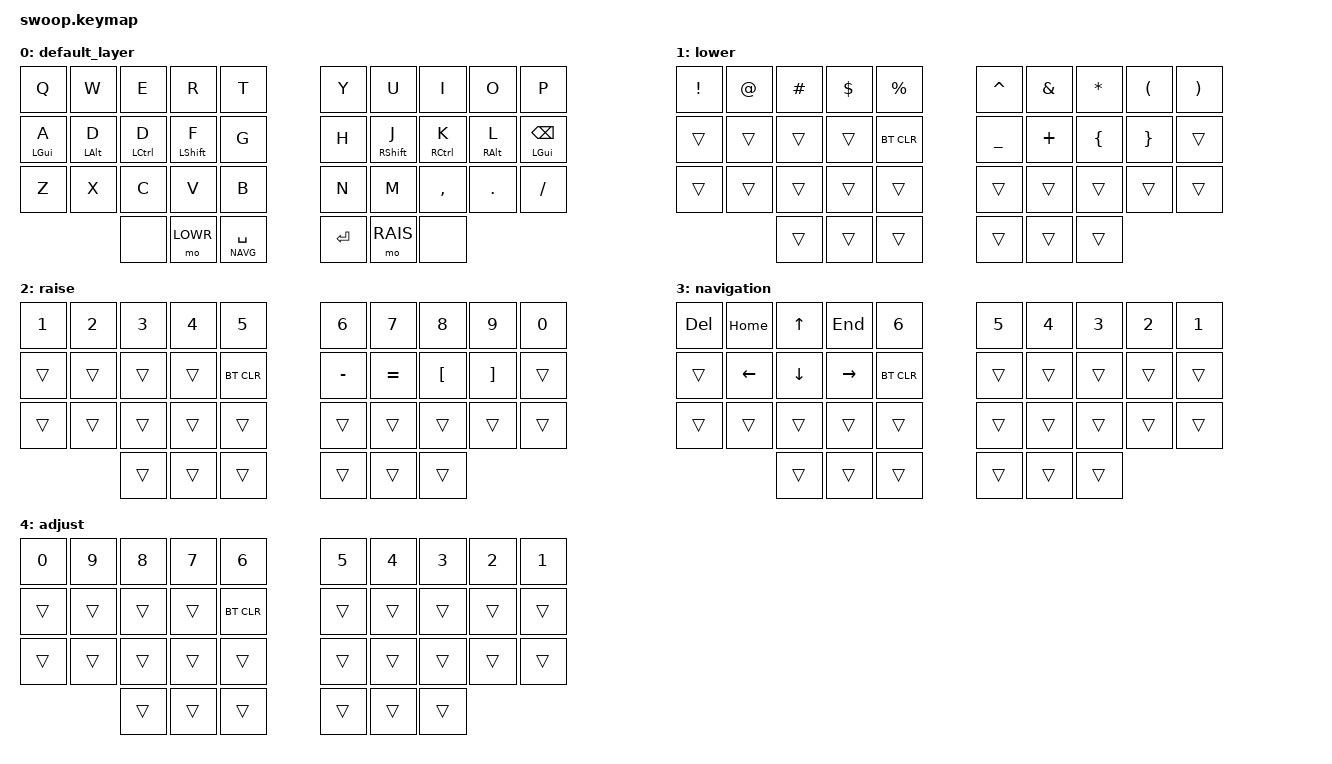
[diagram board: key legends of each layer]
/*
 * Copyright (c) 2024 Ridwan Abdullah
 *
 * SPDX-License-Identifier: MIT
 */

#include <behaviors.dtsi>
#include <dt-bindings/zmk/keys.h>
#include <dt-bindings/zmk/bt.h>
#include <dt-bindings/zmk/outputs.h>

#define LOWR 1
#define RAIS 2
#define NAVG 3
#define ADJT 4

&mt {
  tapping-term-ms = <140>;
}; 

/ {
  // Activate ADJUST layer by pressing raise and lower
  conditional_layers {
        compatible = "zmk,conditional-layers";
        adjust_layer {
            if-layers = <LOWR RAIS>;
            then-layer = <ADJT>;
        };
    };

  keymap {
    compatible = "zmk,keymap";

    default_layer {
      bindings = <
                &kp Q       &kp W       &kp E         &kp R         &kp T              &kp Y       &kp U        &kp I       &kp O        &kp P
                &mt LGUI A  &mt LALT D  &mt LCTRL D   &mt LSHIFT F  &kp G              &kp H       &mt RSHIFT J &mt RCTRL K &mt RALT L   &mt LGUI BSPC
                &kp Z       &kp X       &kp C         &kp V         &kp B              &kp N       &kp M        &kp COMMA   &kp DOT      &kp FSLH
                                        &none         &mo LOWR      &lt NAVG SPACE     &kp ENTER   &mo RAIS     &none
      >;
    };

    lower {
      bindings = <
                &kp EXCL    &kp AT      &kp HASH     &kp DLLR  &kp PRCNT            &kp CARET   &kp AMPS    &kp ASTRK   &kp LPAR    &kp RPAR
                &trans      &trans      &trans       &trans    &bt BT_CLR           &kp UNDER   &kp PLUS    &kp LBRC    &kp RBRC    &trans
                &trans      &trans      &trans       &trans    &trans               &trans      &trans      &trans      &trans      &trans
                                        &trans       &trans    &trans               &trans      &trans      &trans
      >;
    };
    raise {
      bindings = <
                &kp N1      &kp N2      &kp N3       &kp N4    &kp N5               &kp N6      &kp N7      &kp N8      &kp N9      &kp N0
                &trans      &trans      &trans       &trans    &bt BT_CLR           &kp MINUS   &kp EQUAL   &kp LBKT    &kp RBKT    &trans
                &trans      &trans      &trans       &trans    &trans               &trans      &trans      &trans      &trans      &trans
                                        &trans       &trans    &trans               &trans      &trans      &trans
      >;
    };

    navigation {
      bindings = <
                &kp DEL     &kp HOME    &kp UP       &kp END   &kp N6               &kp N5      &kp N4      &kp N3      &kp N2      &kp N1
                &trans      &kp LEFT    &kp DOWN     &kp RIGHT &bt BT_CLR           &trans      &trans      &trans      &trans      &trans
                &trans      &trans      &trans       &trans    &trans               &trans      &trans      &trans      &trans      &trans
                                        &trans       &trans    &trans               &trans      &trans      &trans
      >;
    };

    adjust {
      bindings = <
                &kp N0      &kp N9      &kp N8       &kp N7    &kp N6               &kp N5      &kp N4      &kp N3      &kp N2      &kp N1
                &trans      &trans      &trans       &trans    &bt BT_CLR           &trans      &trans      &trans      &trans      &trans
                &trans      &trans      &trans       &trans    &trans               &trans      &trans      &trans      &trans      &trans
                                        &trans       &trans    &trans               &trans      &trans      &trans
      >;
    };
  };
};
